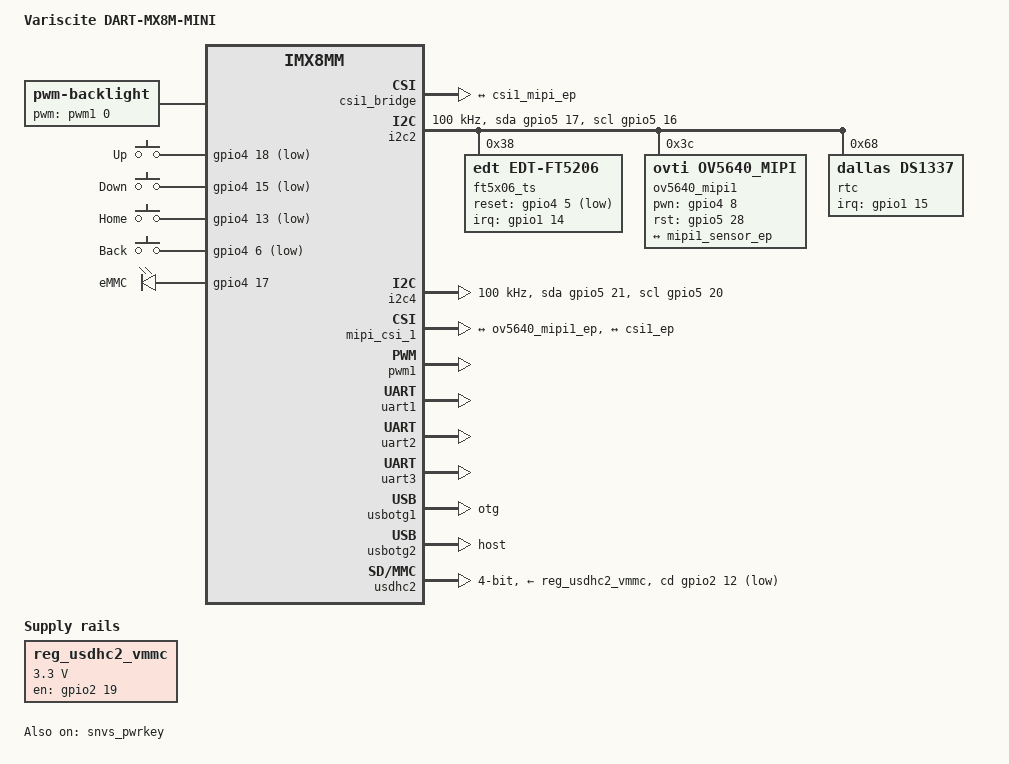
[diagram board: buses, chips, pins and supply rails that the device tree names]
// SPDX-License-Identifier: (GPL-2.0+ OR MIT)
/*
 * Copyright 2019 NXP
 * Copyright 2019-2020 Variscite Ltd.
 */

/dts-v1/;

#include <dt-bindings/usb/pd.h>
#include "imx8mm-var-dart.dtsi"

/ {
	model = "Variscite DART-MX8M-MINI";
	compatible = "variscite,dart-mx8mm", "fsl,imx8mm";

	chosen {
		stdout-path = &uart1;
	};

	backlight: backlight {
		compatible = "pwm-backlight";
		pwms = <&pwm1 0 1000000 0>;
		brightness-levels = < 0  1  2  3  4  5  6  7  8  9
				     10 11 12 13 14 15 16 17 18 19
				     20 21 22 23 24 25 26 27 28 29
				     30 31 32 33 34 35 36 37 38 39
				     40 41 42 43 44 45 46 47 48 49
				     50 51 52 53 54 55 56 57 58 59
				     60 61 62 63 64 65 66 67 68 69
				     70 71 72 73 74 75 76 77 78 79
				     80 81 82 83 84 85 86 87 88 89
				     90 91 92 93 94 95 96 97 98 99
				    100>;
		default-brightness-level = <80>;
		status = "okay";
	};

	gpio-keys {
		compatible = "gpio-keys";
		pinctrl-names = "default";
		pinctrl-0 = <&pinctrl_gpio_keys>;
		status = "okay";

		up {
			label = "Up";
			gpios = <&gpio4 18 GPIO_ACTIVE_LOW>;
			linux,code = <KEY_UP>;
			wakeup-source;
		};

		down {
			label = "Down";
			gpios = <&gpio4 15 GPIO_ACTIVE_LOW>;
			linux,code = <KEY_DOWN>;
			wakeup-source;
		};

		home {
			label = "Home";
			gpios = <&gpio4 13 GPIO_ACTIVE_LOW>;
			linux,code = <KEY_HOME>;
			wakeup-source;
		};

		back {
			label = "Back";
			gpios = <&gpio4 6 GPIO_ACTIVE_LOW>;
			linux,code = <KEY_BACK>;
			wakeup-source;
		};
	};

	leds {
		compatible = "gpio-leds";
		pinctrl-names = "default";
		pinctrl-0 = <&pinctrl_leds>;
		status = "okay";

		emmc {
			label = "eMMC";
			gpios = <&gpio4 17 GPIO_ACTIVE_HIGH>;
			linux,default-trigger = "mmc2";
		};
	};

	reg_usdhc2_vmmc: regulator-usdhc2 {
		compatible = "regulator-fixed";
		pinctrl-names = "default";
		pinctrl-0 = <&pinctrl_reg_usdhc2_vmmc>;
		regulator-name = "VSD_3V3";
		regulator-min-microvolt = <3300000>;
		regulator-max-microvolt = <3300000>;
		gpio = <&gpio2 19 GPIO_ACTIVE_HIGH>;
		off-on-delay = <20000>;
		enable-active-high;
	};
};

&csi1_bridge {
	fsl,mipi-mode;
	status = "okay";
	port {
		csi1_ep: endpoint {
			remote-endpoint = <&csi1_mipi_ep>;
		};
	};
};

&iomuxc {
	pinctrl-names = "default";

	pinctrl_reg_usdhc2_vmmc: regusdhc2vmmc {
		fsl,pins = <
			MX8MM_IOMUXC_SD2_RESET_B_GPIO2_IO19		0xc1
		>;
	};

	pinctrl_captouch: captouchgrp {
		fsl,pins = <
			MX8MM_IOMUXC_SAI1_RXD3_GPIO4_IO5		0x16
			MX8MM_IOMUXC_GPIO1_IO14_GPIO1_IO14		0x16
		>;
	};

	pinctrl_csi1: csi1grp {
		fsl,pins = <
			MX8MM_IOMUXC_SAI1_RXD6_GPIO4_IO8		0x19
			MX8MM_IOMUXC_UART4_RXD_GPIO5_IO28		0x19
		>;
	};

	pinctrl_uart1: uart1grp {
		fsl,pins = <
			MX8MM_IOMUXC_UART1_RXD_UART1_DCE_RX		0x140
			MX8MM_IOMUXC_UART1_TXD_UART1_DCE_TX		0x140
		>;
	};

	pinctrl_uart2: uart2grp {
		fsl,pins = <
			MX8MM_IOMUXC_UART2_RXD_UART2_DCE_RX		0x140
			MX8MM_IOMUXC_UART2_TXD_UART2_DCE_TX		0x140
		>;
	};

	pinctrl_uart3: uart3grp {
		fsl,pins = <
			MX8MM_IOMUXC_UART3_RXD_UART3_DCE_RX		0x140
			MX8MM_IOMUXC_UART3_TXD_UART3_DCE_TX		0x140
		>;
	};

	pinctrl_usdhc2_gpio: usdhc2grpgpio {
		fsl,pins = <
			MX8MM_IOMUXC_SD2_CD_B_GPIO2_IO12		0xc1
		>;
	};

	pinctrl_gpio_keys: keygrp {
		fsl,pins = <
			MX8MM_IOMUXC_SAI1_TXD3_GPIO4_IO15		0x1c6
			MX8MM_IOMUXC_SAI1_TXD6_GPIO4_IO18		0x1c6
			MX8MM_IOMUXC_SAI1_TXD1_GPIO4_IO13		0x1c6
			MX8MM_IOMUXC_SAI1_RXD4_GPIO4_IO6		0x1c6
		>;
	};

	pinctrl_leds: ledgrp {
		fsl,pins = <
			MX8MM_IOMUXC_SAI1_RXD1_GPIO4_IO3		0x1c6
			MX8MM_IOMUXC_SAI1_TXD2_GPIO4_IO14		0x1c6
			MX8MM_IOMUXC_SAI1_RXD2_GPIO4_IO4		0x1c6
			MX8MM_IOMUXC_SAI1_TXD5_GPIO4_IO17		0x1c6
		>;
	};

	pinctrl_i2c2: i2c2grp {
		fsl,pins = <
			MX8MM_IOMUXC_I2C2_SCL_I2C2_SCL			0x400001c3
			MX8MM_IOMUXC_I2C2_SDA_I2C2_SDA			0x400001c3
		>;
	};

	pinctrl_i2c2_gpio: i2c2grp-gpio {
		fsl,pins = <
			MX8MM_IOMUXC_I2C2_SCL_GPIO5_IO16		0x1c3
			MX8MM_IOMUXC_I2C2_SDA_GPIO5_IO17		0x1c3
		>;
	};

	pinctrl_i2c4: i2c4grp {
		fsl,pins = <
			MX8MM_IOMUXC_I2C4_SCL_I2C4_SCL			0x400001c3
			MX8MM_IOMUXC_I2C4_SDA_I2C4_SDA			0x400001c3
		>;
	};

	pinctrl_i2c4_gpio: i2c4grp-gpio {
		fsl,pins = <
			MX8MM_IOMUXC_I2C4_SCL_GPIO5_IO20		0x1c3
			MX8MM_IOMUXC_I2C4_SDA_GPIO5_IO21		0x1c3
		>;
	};

	pinctrl_usdhc2: usdhc2grp {
		fsl,pins = <
			MX8MM_IOMUXC_SD2_CLK_USDHC2_CLK			0x190
			MX8MM_IOMUXC_SD2_CMD_USDHC2_CMD			0x1d0
			MX8MM_IOMUXC_SD2_DATA0_USDHC2_DATA0		0x1d0
			MX8MM_IOMUXC_SD2_DATA1_USDHC2_DATA1		0x1d0
			MX8MM_IOMUXC_SD2_DATA2_USDHC2_DATA2		0x1d0
			MX8MM_IOMUXC_SD2_DATA3_USDHC2_DATA3		0x1d0
			MX8MM_IOMUXC_GPIO1_IO04_USDHC2_VSELECT		0x1d0
		>;
	};

	pinctrl_usdhc2_100mhz: usdhc2grp100mhz {
		fsl,pins = <
			MX8MM_IOMUXC_SD2_CLK_USDHC2_CLK			0x194
			MX8MM_IOMUXC_SD2_CMD_USDHC2_CMD			0x1d4
			MX8MM_IOMUXC_SD2_DATA0_USDHC2_DATA0		0x1d4
			MX8MM_IOMUXC_SD2_DATA1_USDHC2_DATA1		0x1d4
			MX8MM_IOMUXC_SD2_DATA2_USDHC2_DATA2		0x1d4
			MX8MM_IOMUXC_SD2_DATA3_USDHC2_DATA3		0x1d4
			MX8MM_IOMUXC_GPIO1_IO04_USDHC2_VSELECT		0x1d0
		>;
	};

	pinctrl_usdhc2_200mhz: usdhc2grp200mhz {
		fsl,pins = <
			MX8MM_IOMUXC_SD2_CLK_USDHC2_CLK			0x196
			MX8MM_IOMUXC_SD2_CMD_USDHC2_CMD			0x1d6
			MX8MM_IOMUXC_SD2_DATA0_USDHC2_DATA0		0x1d6
			MX8MM_IOMUXC_SD2_DATA1_USDHC2_DATA1		0x1d6
			MX8MM_IOMUXC_SD2_DATA2_USDHC2_DATA2		0x1d6
			MX8MM_IOMUXC_SD2_DATA3_USDHC2_DATA3		0x1d6
			MX8MM_IOMUXC_GPIO1_IO04_USDHC2_VSELECT		0x1d0
		>;
	};
};

&i2c2 {
	clock-frequency = <100000>;
	pinctrl-names = "default", "gpio";
	pinctrl-0 = <&pinctrl_i2c2>;
	pinctrl-1 = <&pinctrl_i2c2_gpio>;
	scl-gpios = <&gpio5 16 GPIO_ACTIVE_HIGH>;
	sda-gpios = <&gpio5 17 GPIO_ACTIVE_HIGH>;
	status = "okay";

	/* Capacitive touch controller */
	ft5x06_ts: ft5x06_ts@38 {
		status = "okay";
		compatible = "edt,edt-ft5206";
		reg = <0x38>;
		reset-gpios = <&gpio4 5 GPIO_ACTIVE_LOW>;
		pinctrl-names = "default";
		pinctrl-0 = <&pinctrl_captouch>;
		interrupt-parent = <&gpio1>;
		interrupts = <14 IRQ_TYPE_EDGE_FALLING>;
		touchscreen-size-x = <800>;
		touchscreen-size-y = <480>;
		touchscreen-inverted-x;
		touchscreen-inverted-y;
		wakeup-source;
	};

	ov5640_mipi1: ov5640_mipi1@3c {
		status = "okay";
		compatible = "ovti,ov5640_mipi";
		reg = <0x3c>;
		pinctrl-names = "default";
		pinctrl-0 = <&pinctrl_csi1>;
		clocks = <&clk IMX8MM_CLK_CLKO1>;
		clock-names = "csi_mclk";
/* Disabled CLKO2, since DART-MX8M-MINI camera expansion board uses
 * its own oscillator. Enable CLK02 if your design requires it
 */
#if 0
		assigned-clocks = <&clk IMX8MM_CLK_CLKO1>;
		assigned-clock-parents = <&clk IMX8MM_CLK_24M>;
		assigned-clock-rates = <24000000>;
#endif
		csi_id = <0>;
		pwn-gpios = <&gpio4 8 GPIO_ACTIVE_HIGH>;
		rst-gpios = <&gpio5 28 GPIO_ACTIVE_HIGH>;
		mclk = <24000000>;
		mclk_source = <0>;
		port {
			ov5640_mipi1_ep: endpoint {
				remote-endpoint = <&mipi1_sensor_ep>;
			};
		};
	};

	/* DS1337 RTC module */
	rtc@68 {
		status = "okay";
		compatible = "dallas,ds1337";
		reg = <0x68>;
		pinctrl-names = "default";
		pinctrl-0 = <&pinctrl_rtc>;
		interrupt-parent = <&gpio1>;
		interrupts = <15 IRQ_TYPE_EDGE_FALLING>;
	};
};

&i2c4 {
	clock-frequency = <100000>;
	pinctrl-names = "default", "gpio";
	pinctrl-0 = <&pinctrl_i2c4>;
	pinctrl-1 = <&pinctrl_i2c4_gpio>;
	scl-gpios = <&gpio5 20 GPIO_ACTIVE_HIGH>;
	sda-gpios = <&gpio5 21 GPIO_ACTIVE_HIGH>;
	status = "okay";
};

&mipi_csi_1 {
	#address-cells = <1>;
	#size-cells = <0>;
	status = "okay";
	port {
		mipi1_sensor_ep: endpoint@1 {
			remote-endpoint = <&ov5640_mipi1_ep>;
			data-lanes = <2>;
			csis-hs-settle = <13>;
			csis-clk-settle = <2>;
			csis-wclk;
		};

		csi1_mipi_ep: endpoint@2 {
			remote-endpoint = <&csi1_ep>;
		};
	};
};

&pwm1 {
	status = "okay";
	pinctrl-names = "default";
	pinctrl-0 = <&pinctrl_pwm1>;
};

&snvs_pwrkey {
	status = "okay";
};

&snvs_rtc {
	status = "disabled";
};

/* Console */
&uart1 {
	pinctrl-names = "default";
	pinctrl-0 = <&pinctrl_uart1>;
	status = "okay";
};

/* Header */
&uart2 {
	pinctrl-names = "default";
	pinctrl-0 = <&pinctrl_uart2>;
	status = "okay";
};

/* Header */
&uart3 {
	pinctrl-names = "default";
	pinctrl-0 = <&pinctrl_uart3>;
	status = "okay";
};

&usbotg1 {
	dr_mode = "otg";
	picophy,pre-emp-curr-control = <3>;
	picophy,dc-vol-level-adjust = <7>;
	status = "okay";
};

&usbotg2 {
	dr_mode = "host";
	picophy,pre-emp-curr-control = <3>;
	picophy,dc-vol-level-adjust = <7>;
	status = "okay";
};

/* SD */
&usdhc2 {
	pinctrl-names = "default", "state_100mhz", "state_200mhz";
	pinctrl-0 = <&pinctrl_usdhc2>, <&pinctrl_usdhc2_gpio>;
	pinctrl-1 = <&pinctrl_usdhc2_100mhz>, <&pinctrl_usdhc2_gpio>;
	pinctrl-2 = <&pinctrl_usdhc2_200mhz>, <&pinctrl_usdhc2_gpio>;
	cd-gpios = <&gpio2 12 GPIO_ACTIVE_LOW>;
	bus-width = <4>;
	vmmc-supply = <&reg_usdhc2_vmmc>;
	status = "okay";
};
